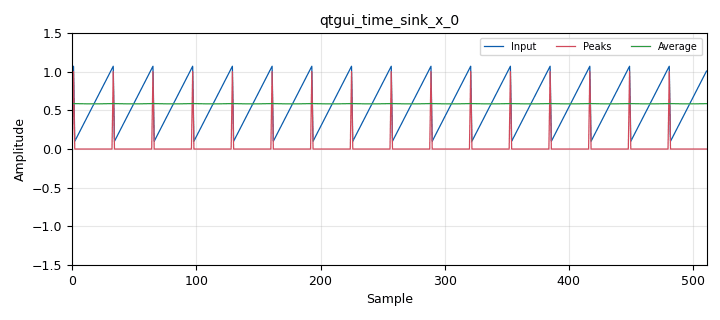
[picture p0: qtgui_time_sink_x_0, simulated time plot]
options:
  parameters:
    category: Custom
    description: Adapted from GNU Radio's own example (gr-blocks/examples/peak_detector2.grc).
    generate_options: qt_gui
    id: test_peak2
    output_language: python
    run_options: run
    title: Peak Detector Demo
  states: {}

blocks:
- name: alpha
  id: variable
  parameters:
    value: '0.001'
  states: {}
- name: analog_sig_source_x_0
  id: analog_sig_source_x
  parameters:
    offset: offset
    phase: '0'
    samp_rate: samp_rate
    type: float
    waveform: analog.GR_SAW_WAVE
    frequency: '1000'
    amplitude: '1'
  states: {}
- name: blocks_char_to_float_0
  id: blocks_char_to_float
  parameters:
    scale: '1'
  states: {}
- name: blocks_file_sink_0
  id: blocks_file_sink
  parameters:
    file: in.data
    type: float
  states: {state: disabled}
- name: blocks_file_sink_0_0
  id: blocks_file_sink
  parameters:
    file: avg.data
    type: float
  states: {state: disabled}
- name: blocks_file_sink_0_1
  id: blocks_file_sink
  parameters:
    file: flag.data
    type: float
  states: {state: disabled}
- name: blocks_peak_detector2_fb_0
  id: blocks_peak_detector2_fb
  parameters:
    alpha: alpha
    look_ahead: lookahead
    threshold_factor_rise: factor
  states: {}
- name: blocks_throttle2_0
  id: blocks_throttle2
  parameters:
    samples_per_second: samp_rate
    type: float
  states: {}
- name: factor
  id: variable
  parameters:
    value: '0.3'
  states: {}
- name: lookahead
  id: variable
  parameters:
    value: int(samp_rate/1e3/1.1)
  states: {}
- name: offset
  id: variable_qtgui_range
  parameters:
    start: '-1.5'
    step: '0.1'
    stop: '1.5'
    value: '0.1'
  states: {}
- name: qtgui_time_sink_x_0
  id: qtgui_time_sink_x
  parameters:
    ctrlpanel: 'True'
    grid: 'True'
    label1: Input
    label2: Peaks
    label3: Average
    nconnections: '3'
    size: '512'
    tr_chan: '1'
    tr_mode: qtgui.TRIG_MODE_AUTO
    type: float
    ymax: '1.5'
    ymin: '-1.5'
    samp_rate: samp_rate
  states: {}
- name: samp_rate
  id: variable
  parameters:
    value: 32e3
  states: {}

connections:
- [analog_sig_source_x_0, '0', blocks_throttle2_0, '0']
- [blocks_char_to_float_0, '0', blocks_file_sink_0_1, '0']
- [blocks_char_to_float_0, '0', qtgui_time_sink_x_0, '1']
- [blocks_peak_detector2_fb_0, '0', blocks_char_to_float_0, '0']
- [blocks_peak_detector2_fb_0, '1', blocks_file_sink_0_0, '0']
- [blocks_peak_detector2_fb_0, '1', qtgui_time_sink_x_0, '2']
- [blocks_throttle2_0, '0', blocks_peak_detector2_fb_0, '0']
- [blocks_throttle2_0, '0', qtgui_time_sink_x_0, '0']

metadata:
  file_format: 1
  grc_version: 3.10.10.0
